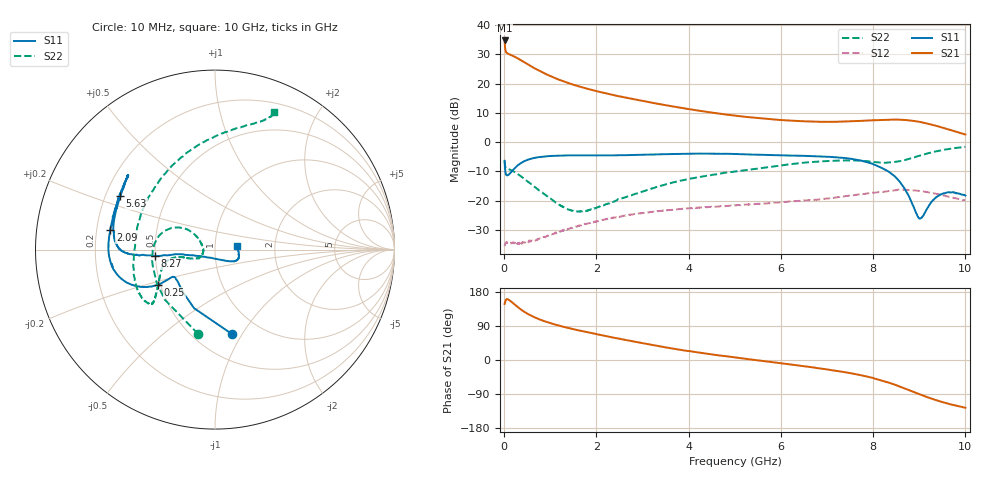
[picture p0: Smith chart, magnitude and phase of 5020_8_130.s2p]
# Hz S  dB  R 50
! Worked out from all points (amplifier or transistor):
!   1000 points, 10 MHz to 10 GHz, reference 50 ohm
!   highest |S21| = 34.7 dB at 10 MHz (marker M1)
!   |S21| within 3 dB of that: start of sweep to 25.47 MHz
!   unconditionally stable (mu >= 1): 56.36 MHz to end of sweep
!   at 1.67 GHz: K = 1.15, MAG = 21.2 dB, |S12| = -28.4 dB
!   at 5.01 GHz: K = 1.12, MAG = 13.3 dB, |S12| = -21.6 dB
!   at 10 GHz: K = 1.13, MAG = 9.1 dB, |S12| = -20.0 dB
!   S11 on the Smith chart (normalised r, x): 10 MHz: 0.74, -0.90; 250 MHz: 0.49, -0.22; 2.09 GHz: 0.26, +0.09; 5.63 GHz: 0.26, +0.25; 8.27 GHz: 0.50, -0.04; 10 GHz: 1.28, +0.05
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1e7  -6.38 -78.7  34.69 147.8  -35.50 31.7  -6.39 -101.3
7e7  -11.34 -144.5  30.29 160.5  -34.23 6.1  -9.06 -173.6
8e7  -11.29 -146.0  30.19 160.2  -34.29 8.1  -9.16 -176.3
1.2e8  -10.78 -147.5  29.92 157.3  -34.45 7.2  -9.35 175.8
2.5e8  -8.59 -148.4  28.96 143.9  -34.51 8.7  -10.44 160.2
3.7e8  -7.09 -151.9  27.87 132.6  -34.04 13.2  -11.75 151.8
5.1e8  -6.01 -156.8  26.55 121.8  -34.42 22.1  -13.41 145.7
6.3e8  -5.47 -160.6  25.45 114.3  -33.67 27.5  -14.88 143.4
7.8e8  -5.07 -165.0  24.18 106.5  -32.78 32.5  -16.67 143.4
9.5e8  -4.79 -169.0  22.89 99.3  -32.03 36.3  -18.69 145.5
1.15e9  -4.64 -173.4  21.55 92.0  -30.83 39.1  -20.94 152.9
1.68e9  -4.51 176.9  18.76 76.4  -28.30 41.3  -23.60 -174.3
2.09e9  -4.53 169.2  17.07 65.9  -26.73 39.2  -21.77 -156.5
3.34e9  -4.18 146.7  13.05 36.7  -23.58 27.0  -15.18 -165.0
3.94e9  -3.95 140.3  11.43 24.5  -22.70 20.5  -12.80 -168.7
5.01e9  -4.05 142.6  9.04 6.6  -21.62 9.8  -10.03 -160.1
5.63e9  -4.34 150.5  8.01 -3.0  -20.96 3.5  -8.75 -149.5
6.67e9  -4.77 168.7  7.02 -19.1  -19.77 -6.4  -6.80 -139.3
8.27e9  -9.48 -173.9  7.60 -57.0  -16.89 -37.5  -7.01 170.4
8.34e9  -10.14 -173.5  7.65 -59.7  -16.69 -39.7  -6.92 164.2
9.01e9  -26.08 -105.7  6.90 -90.7  -16.68 -68.4  -4.59 99.1
1e10  -18.22 8.5  2.60 -126.0  -19.96 -101.0  -1.60 66.8
